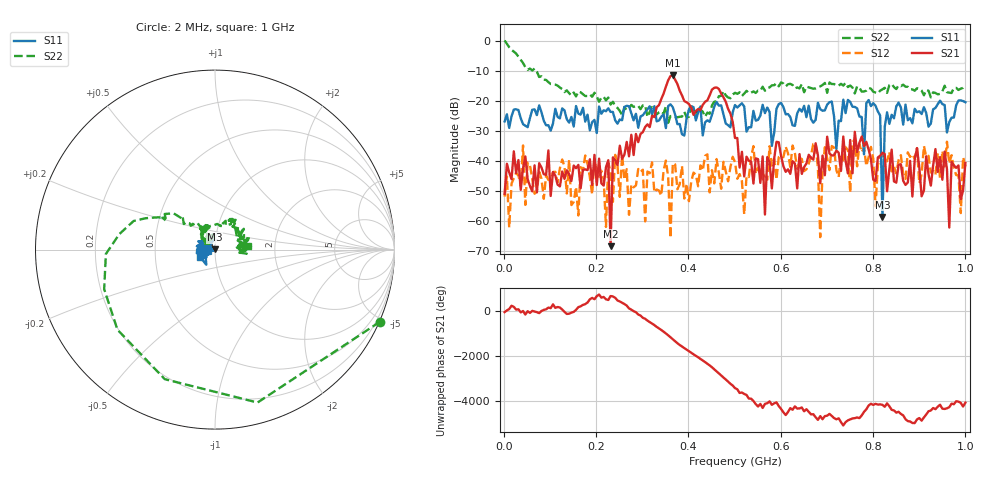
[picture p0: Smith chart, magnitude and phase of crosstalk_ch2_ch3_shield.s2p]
!Keysight Technologies N9923A: A.12.45
!Date: Friday, 10 October 2025 02:29:10
!Timezone: (UTC+08:00) Kuala Lumpur, Singapore
!Model: N9923A
!Serial: MY61181427
!GPS Latitude:
!GPS Longitude:
!GPS TimeStamp: 0001-01-01 00:00:00Z
!GPS Seconds Since Last Read: 0
!CHECKSUM:1925130683
!Correction: S11(ON U?)S21(ON U?)S12(ON U?)S22(ON U?)
!S2P File: Measurements:S11,S21,S12,S22:
# Hz S DB R 50
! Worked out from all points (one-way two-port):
!   201 points, 2 MHz to 1 GHz, reference 50 ohm
!   highest |S21| = -11.57 dB at 366.3 MHz (marker M1); lowest = -68.2 dB at 231.5 MHz (marker M2)
!   lowest |S11| = -58.5 dB at 820.4 MHz (marker M3), VSWR 1.00, Z = 49.9 + j0.0979 ohm
!   |S11| at or under -10 dB: start of sweep to end of sweep
!   |S22| runs from -27.3 to 0.0 dB; largest |S21 - S12| = 0.26
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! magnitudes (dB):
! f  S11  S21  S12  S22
! 2 MHz  -26.9  -50.9  -51.8  0.0
! 171.7 MHz  -22.3  -42.9  -43.2  -17.8
! 221.6 MHz  -23.5  -42.0  -61.9  -19.8
! 226.6 MHz  -22.5  -39.7  -40.5  -18.9
! 231.5 MHz  -23.7  -68.2  -43.6  -21.2
! 236.5 MHz  -23.7  -38.8  -53.5  -20.3
! 336.3 MHz  -26.5  -21.4  -49.8  -23.9
! 361.3 MHz  -21.2  -11.8  -65.5  -25.1
! 366.3 MHz  -22.1  -11.6  -40.7  -25.1
! 501 MHz  -21.4  -32.3  -40.3  -17.3
! 565.9 MHz  -24.1  -57.7  -44.0  -16.7
! 590.8 MHz  -22.7  -33.6  -46.1  -14.1
! 670.7 MHz  -27.3  -39.5  -34.3  -16.0
! 685.6 MHz  -22.8  -47.3  -65.2  -15.2
! 695.6 MHz  -23.2  -44.7  -35.4  -14.1
! 805.4 MHz  -21.6  -46.6  -55.1  -17.3
! 815.4 MHz  -24.9  -38.2  -38.4  -16.6
! 820.4 MHz  -58.5  -37.2  -37.8  -16.2
! 835.3 MHz  -27.7  -42.7  -37.0  -14.8
! 955.1 MHz  -21.4  -36.9  -41.8  -15.0
! 965.1 MHz  -27.1  -62.0  -40.8  -17.3
! 1 GHz  -20.5  -40.7  -41.8  -14.7
